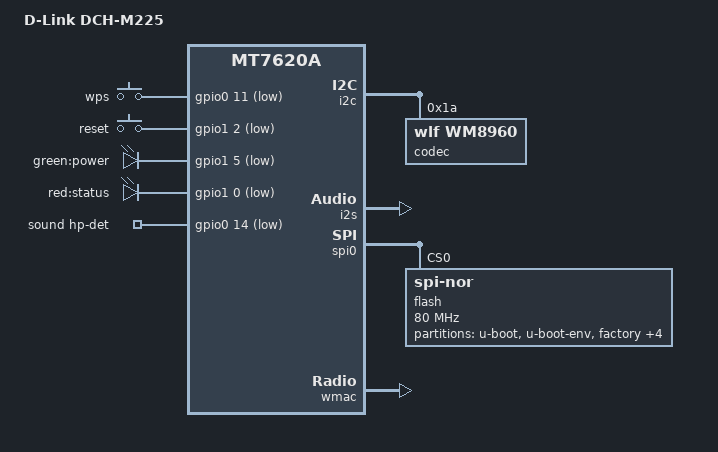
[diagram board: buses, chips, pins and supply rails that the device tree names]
#include "mt7620a.dtsi"

#include <dt-bindings/gpio/gpio.h>
#include <dt-bindings/input/input.h>

/ {
	compatible = "dlink,dch-m225", "ralink,mt7620a-soc";
	model = "D-Link DCH-M225";

	aliases {
		led-boot = &led_power;
		led-failsafe = &led_power;
		led-running = &led_power;
		led-upgrade = &led_power;
	};

	keys {
		compatible = "gpio-keys";

		wps {
			label = "wps";
			gpios = <&gpio0 11 GPIO_ACTIVE_LOW>;
			linux,code = <KEY_RFKILL>;
		};

		reset {
			label = "reset";
			gpios = <&gpio1 2 GPIO_ACTIVE_LOW>;
			linux,code = <KEY_RESTART>;
		};
	};

	leds {
		compatible = "gpio-leds";

		led_power: power {
			label = "green:power";
			gpios = <&gpio1 5 GPIO_ACTIVE_LOW>;
			default-state = "on";
		};

		status {
			label = "red:status";
			gpios = <&gpio1 0 GPIO_ACTIVE_LOW>;
		};
	};

	sound {
		compatible = "simple-audio-card";
		simple-audio-card,name = "Audio-I2S";
		simple-audio-card,format = "i2s";
		simple-audio-card,bitclock-master = <&dailink0_master>;
		simple-audio-card,frame-master = <&dailink0_master>;
		simple-audio-card,widgets =
			"Headphone", "Headphones";
		simple-audio-card,routing =
			"Headphones", "HP_L",
			"Headphones", "HP_R";
		simple-audio-card,mclk-fs = <256>;
		simple-audio-card,hp-det-gpio = <&gpio0 14 GPIO_ACTIVE_LOW>;

		simple-audio-card,cpu {
			sound-dai = <&i2s>;
		};

		dailink0_master: simple-audio-card,codec {
			sound-dai = <&codec>;
		};
	};
};

&gpio1 {
	status = "okay";
};

&i2c {
	status = "okay";

	codec: wm8960@1a {
		#sound-dai-cells = <0>;
		compatible = "wlf,wm8960";
		reg = <0x1a>;

		wlf,shared-lrclk;
	};
};

&i2s {
	#sound-dai-cells = <0>;
	status = "okay";
	pinctrl-names = "default";
	pinctrl-0 = <&mdio_refclk_pins>;
};

&spi0 {
	status = "okay";

	flash@0 {
		compatible = "jedec,spi-nor";
		reg = <0>;
		spi-max-frequency = <80000000>;
		m25p,fast-read;

		partitions {
			compatible = "fixed-partitions";
			#address-cells = <1>;
			#size-cells = <1>;

			partition@0 {
				label = "u-boot";
				reg = <0x0 0x30000>;
				read-only;
			};

			partition@30000 {
				label = "u-boot-env";
				reg = <0x30000 0x4000>;
				read-only;
			};

			factory: partition@34000 {
				label = "factory";
				reg = <0x34000 0x4000>;
				read-only;
			};

			nvram: partition@38000 {
				label = "nvram";
				reg = <0x38000 0x8000>;
				read-only;
			};

			partition@40000 {
				label = "devconf";
				reg = <0x40000 0x10000>;
				read-only;
			};

			partition@50000 {
				label = "upgrade_rec";
				reg = <0x50000 0x100000>;
				read-only;
			};

			partition@150000 {
				compatible = "seama";
				label = "firmware";
				reg = <0x150000 0x6b0000>;
			};
		};
	};
};

&gdma {
	status = "okay";
};

&state_default {
	gpio {
		groups = "wdt", "rgmii1";
		function = "gpio";
	};

	gpio_i2s {
		groups = "uartf";
		function = "gpio i2s";
	};
};

&ethernet {
	mtd-mac-address = <&factory 0x4>;
};

&gsw {
	ralink,port4 = "ephy";
};

&wmac {
	ralink,mtd-eeprom = <&factory 0x0>;
	pinctrl-names = "default";
	pinctrl-0 = <&pa_pins>;
};
